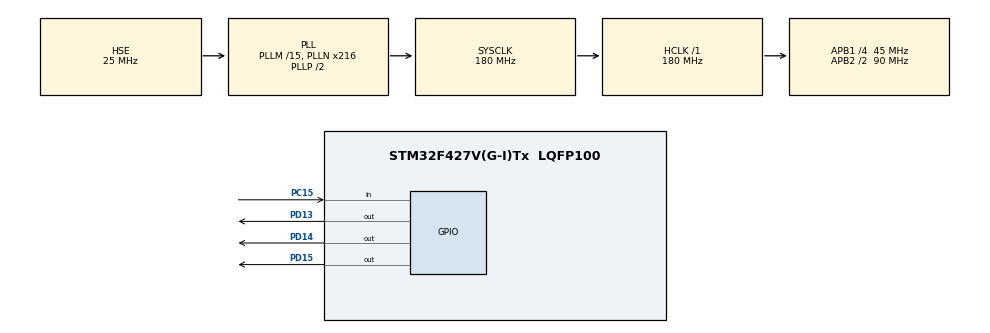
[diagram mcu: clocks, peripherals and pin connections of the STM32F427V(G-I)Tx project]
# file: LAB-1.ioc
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Mcu.Family=STM32F4
Mcu.Name=STM32F427V(G-I)Tx
Mcu.Package=LQFP100
NVIC.PriorityGroup=NVIC_PRIORITYGROUP_4
PA13.Mode=JTAG_5_pins
PA13.Signal=SYS_JTMS-SWDIO
PA14.Mode=JTAG_5_pins
PA14.Signal=SYS_JTCK-SWCLK
PA15.Mode=JTAG_5_pins
PA15.Signal=SYS_JTDI
PB3.Mode=JTAG_5_pins
PB3.Signal=SYS_JTDO-SWO
PB4.Mode=JTAG_5_pins
PB4.Signal=SYS_JTRST
PC15/OSC32_OUT.Signal=GPIO_Input
PD13.Signal=GPIO_Output
PD14.Signal=GPIO_Output
PD15.Signal=GPIO_Output
PH0/OSC_IN.Mode=HSE-External-Oscillator
PH0/OSC_IN.Signal=RCC_OSC_IN
PH1/OSC_OUT.Mode=HSE-External-Oscillator
PH1/OSC_OUT.Signal=RCC_OSC_OUT
ProjectManager.HeapSize=0x200
ProjectManager.StackSize=0x400
ProjectManager.TargetToolchain=STM32CubeIDE
RCC.48MHZClocksFreq_Value=90000000
RCC.AHBFreq_Value=180000000
RCC.APB1CLKDivider=RCC_HCLK_DIV4
RCC.APB1Freq_Value=45000000
RCC.APB1TimFreq_Value=90000000
RCC.APB2CLKDivider=RCC_HCLK_DIV2
RCC.APB2Freq_Value=90000000
RCC.APB2TimFreq_Value=180000000
RCC.CortexFreq_Value=180000000
RCC.HCLKFreq_Value=180000000
RCC.HSE_VALUE=25000000
RCC.HSI_VALUE=16000000
RCC.LSE_VALUE=32768
RCC.PLLM=15
RCC.PLLN=216
RCC.PLLSourceVirtual=RCC_PLLSOURCE_HSE
RCC.SYSCLKFreq_VALUE=180000000
RCC.SYSCLKSource=RCC_SYSCLKSOURCE_PLLCLK
RCC.VCOOutputFreq_Value=360000000
board=custom

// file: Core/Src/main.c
/* USER CODE BEGIN Header */
/**
  ******************************************************************************
  * @file           : main.c
  * @brief          : Main program body
  ******************************************************************************
  * @attention
  *
  * Copyright (c) 2026 STMicroelectronics.
  * All rights reserved.
  *
  * This software is licensed under terms that can be found in the LICENSE file
  * in the root directory of this software component.
  * If no LICENSE file comes with this software, it is provided AS-IS.
  *
  ******************************************************************************
  */
/* USER CODE END Header */
#include "main.h"
#include "gpio.h"

/* USER CODE BEGIN Includes */
#include <stdbool.h>

#include "morse_buf.h"
#include "morse.h"
#include "button_driver.h"
#include "led.h"
#include "timing.h"

/* USER CODE END Includes */

/* USER CODE BEGIN PD */

#define DURATION_TIMER 0

/* USER CODE END PD */

void SystemClock_Config(void);

int main(void)
{

  /* MCU Configuration--------------------------------------------------------*/

  /* Reset of all peripherals, Initializes the Flash interface and the Systick. */
  HAL_Init();

  /* Configure the system clock */
  SystemClock_Config();

  /* Initialize all configured peripherals */
  MX_GPIO_Init();

  /* Infinite loop */
  /* USER CODE BEGIN WHILE */

  morse_buf buf = (morse_buf) {};
  morse_buf_reset(&buf);

  bool is_showing_buf = false;
  bool was_long_press = false;
  bool is_printing = false;

  morse sym;

  while (1)
  {
    /* USER CODE END WHILE */

    /* USER CODE BEGIN 3 */
	  if (is_showing_buf) {
		  update_button_state(GPIOC, GPIO_PIN_15);

		  if (!is_printing && is_timer_expired(DURATION_TIMER, PAUSE_DURATION)) {
				  is_printing = true;
				  light_up(GREEN);
				  timer_reset(DURATION_TIMER);
		  } else if (
				(is_printing && sym == MORSE_DASH && is_timer_expired(DURATION_TIMER, DASH_DURATION))
				|| (is_printing && sym == MORSE_DOT && is_timer_expired(DURATION_TIMER, DOT_DURATION))
			  ) {
				  light_down(GREEN);
				  is_printing = false;
				  timer_reset(DURATION_TIMER);
				  if (!morse_buf_next(&buf, &sym)) {
					  morse_buf_reset(&buf);
					  is_showing_buf = false;
				  }
		  }
	  } else {
		  if (is_long_press()) {
			  was_long_press = true;
		  }

		  switch (update_button_state(GPIOC, GPIO_PIN_15)) {
		  	  case 1:
		  		  break;
		  	  case -1:
		  		  if (was_long_press) {
		  			  light_blink(RED);
		  			  morse_buf_write(&buf, MORSE_DASH);
		  			  was_long_press = false;
		  		  } else {
		  			  light_blink(ORANGE);
		  			  morse_buf_write(&buf, MORSE_DOT);
		  		  }
		  		  break;
		  	  default:
		  		  break;
		  }

		  if (
				  (!morse_buf_empty(&buf) && is_long_unpress())
				  || morse_buf_full(&buf)
		  ) {
			  morse_buf_next(&buf, &sym);
			  is_showing_buf = true;
			  timer_reset(DURATION_TIMER);
		  }
	  }
  }
  /* USER CODE END 3 */
}

void SystemClock_Config(void)
{
  RCC_OscInitTypeDef RCC_OscInitStruct = {0};
  RCC_ClkInitTypeDef RCC_ClkInitStruct = {0};

  /** Configure the main internal regulator output voltage
  */
  __HAL_RCC_PWR_CLK_ENABLE();
  __HAL_PWR_VOLTAGESCALING_CONFIG(PWR_REGULATOR_VOLTAGE_SCALE1);

  /** Initializes the RCC Oscillators according to the specified parameters
  * in the RCC_OscInitTypeDef structure.
  */
  RCC_OscInitStruct.OscillatorType = RCC_OSCILLATORTYPE_HSE;
  RCC_OscInitStruct.HSEState = RCC_HSE_ON;
  RCC_OscInitStruct.PLL.PLLState = RCC_PLL_ON;
  RCC_OscInitStruct.PLL.PLLSource = RCC_PLLSOURCE_HSE;
  RCC_OscInitStruct.PLL.PLLM = 15;
  RCC_OscInitStruct.PLL.PLLN = 216;
  RCC_OscInitStruct.PLL.PLLP = RCC_PLLP_DIV2;
  RCC_OscInitStruct.PLL.PLLQ = 4;
  if (HAL_RCC_OscConfig(&RCC_OscInitStruct) != HAL_OK)
  {
    Error_Handler();
  }

  /** Activate the Over-Drive mode
  */
  if (HAL_PWREx_EnableOverDrive() != HAL_OK)
  {
    Error_Handler();
  }

  /** Initializes the CPU, AHB and APB buses clocks
  */
  RCC_ClkInitStruct.ClockType = RCC_CLOCKTYPE_HCLK|RCC_CLOCKTYPE_SYSCLK
                              |RCC_CLOCKTYPE_PCLK1|RCC_CLOCKTYPE_PCLK2;
  RCC_ClkInitStruct.SYSCLKSource = RCC_SYSCLKSOURCE_PLLCLK;
  RCC_ClkInitStruct.AHBCLKDivider = RCC_SYSCLK_DIV1;
  RCC_ClkInitStruct.APB1CLKDivider = RCC_HCLK_DIV4;
  RCC_ClkInitStruct.APB2CLKDivider = RCC_HCLK_DIV2;

  if (HAL_RCC_ClockConfig(&RCC_ClkInitStruct, FLASH_LATENCY_5) != HAL_OK)
  {
    Error_Handler();
  }
}

void Error_Handler(void)
{
  __disable_irq();
  while (1)
  {
  }
}
